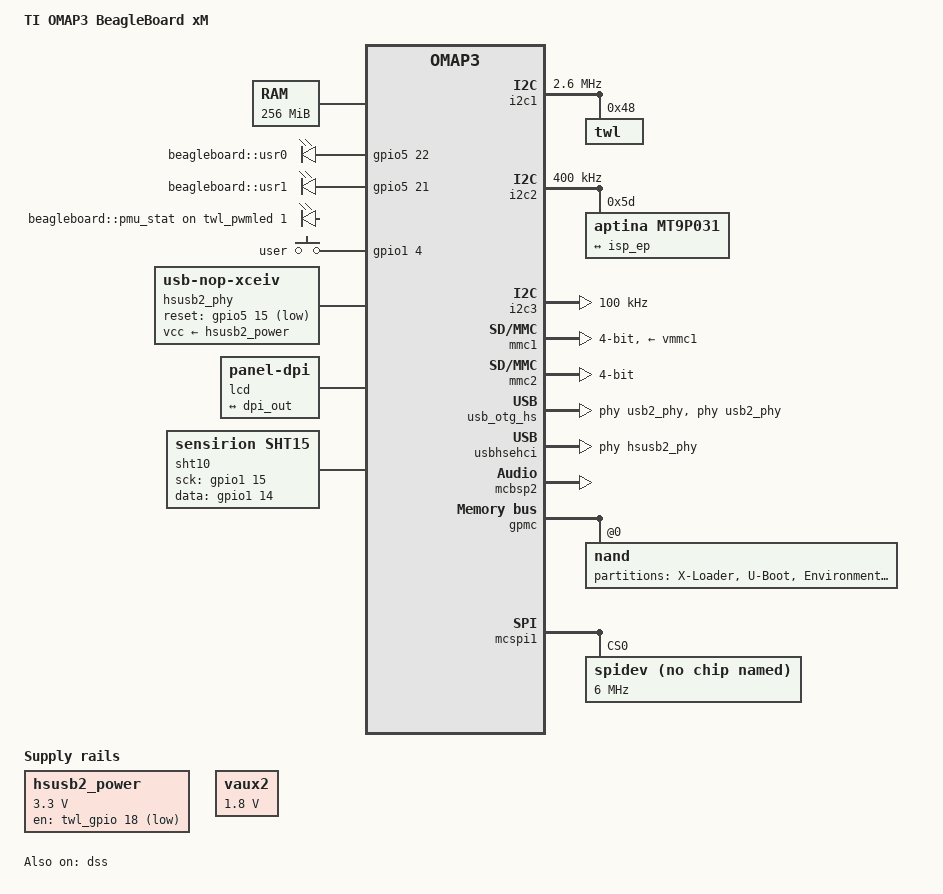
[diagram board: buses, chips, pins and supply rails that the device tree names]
/*
 * Copyright (C) 2011 Texas Instruments Incorporated - http://www.ti.com/
 *
 * This program is free software; you can redistribute it and/or modify
 * it under the terms of the GNU General Public License version 2 as
 * published by the Free Software Foundation.
 */
/dts-v1/;

#include "omap36xx.dtsi"

/ {
	model = "TI OMAP3 BeagleBoard xM";
	compatible = "ti,omap3-beagle-xm", "ti,omap36xx", "ti,omap3";

	cpus {
		cpu@0 {
			operating-points = <
				/* kHz    uV */
				300000  1012500
				600000  1200000
				800000  1325000
				1000000 1375000
			>;
			cpu0-supply = <&vcc>;
		};
	};

	memory {
		device_type = "memory";
		reg = <0x80000000 0x10000000>; /* 256 MB */
	};

	aliases {
		display0 = &lcd0;
	};

	leds {
		compatible = "gpio-leds";

		heartbeat {
			label = "beagleboard::usr0";
			gpios = <&gpio5 22 GPIO_ACTIVE_HIGH>; /* 150 -> D6 LED */
			linux,default-trigger = "heartbeat";
		};

		mmc {
			label = "beagleboard::usr1";
			gpios = <&gpio5 21 GPIO_ACTIVE_HIGH>; /* 149 -> D7 LED */
			linux,default-trigger = "mmc0";
		};
	};

	pwmleds {
		compatible = "pwm-leds";

		pmu_stat {
			label = "beagleboard::pmu_stat";
			pwms = <&twl_pwmled 1 7812500>;
			max-brightness = <127>;
		};
	};

	sound {
		compatible = "ti,omap-twl4030";
		ti,model = "omap3beagle";

		ti,mcbsp = <&mcbsp2>;
	};

	gpio_keys {
		compatible = "gpio-keys";

		user {
			label = "user";
			gpios = <&gpio1 4 GPIO_ACTIVE_HIGH>;
			linux,code = <0x114>;
			gpio-key,wakeup;
		};

	};

	/* HS USB Port 2 Power */
	hsusb2_power: hsusb2_power_reg {
		compatible = "regulator-fixed";
		regulator-name = "hsusb2_vbus";
		regulator-min-microvolt = <3300000>;
		regulator-max-microvolt = <3300000>;
		gpio = <&twl_gpio 18 GPIO_ACTIVE_HIGH>;	/* GPIO LEDA */
		startup-delay-us = <70000>;
	};

	/* HS USB Host PHY on PORT 2 */
	hsusb2_phy: hsusb2_phy {
		compatible = "usb-nop-xceiv";
		reset-gpios = <&gpio5 15 GPIO_ACTIVE_LOW>; /* gpio_143 */
		vcc-supply = <&hsusb2_power>;
	};

	lcd0: display@0 {
		compatible = "panel-dpi";
		label = "lcd";

		port {
			lcd_in: endpoint {
				remote-endpoint = <&dpi_out>;
			};
		};

		panel-timing {
			clock-frequency = <31250000>;
			hactive = <800>;
			vactive = <480>;
			hfront-porch = <40>;
			hback-porch = <86>;
			hsync-len = <1>;
			vback-porch = <30>;
			vfront-porch = <13>;
			vsync-len = <3>;

			hsync-active = <0>;
			vsync-active = <0>;
			de-active = <1>;
			pixelclk-active = <1>;
		};
	};

	etb@5401b000 {
		compatible = "arm,coresight-etb10", "arm,primecell";
		reg = <0x5401b000 0x1000>;

		clocks = <&emu_src_ck>;
		clock-names = "apb_pclk";
		port {
			etb_in: endpoint {
				slave-mode;
				remote-endpoint = <&etm_out>;
			};
		};
	};

	etm@54010000 {
		compatible = "arm,coresight-etm3x", "arm,primecell";
		reg = <0x54010000 0x1000>;

		clocks = <&emu_src_ck>;
		clock-names = "apb_pclk";
		port {
			etm_out: endpoint {
				remote-endpoint = <&etb_in>;
			};
		};
	};

        sht10 {
                compatible = "sensirion,sht15";
                sck-gpios = <&gpio1 15 GPIO_ACTIVE_HIGH>; /* gpio_15 */
                data-gpios = <&gpio1 14 GPIO_ACTIVE_HIGH>; /* gpio_14 */
                supply-mv = <3300>; /* 3.3 V */
                pinctrl-names = "default";
                pinctrl-0 = <
                        &sht10_pins
                >;
        };
};

&omap3_pmx_wkup {
	gpio1_pins: pinmux_gpio1_pins {
		pinctrl-single,pins = <
			0x0e (PIN_INPUT | PIN_OFF_WAKEUPENABLE | MUX_MODE4) /* sys_boot2.gpio_4 */
		>;
	};

	dss_dpi_pins2: pinmux_dss_dpi_pins1 {
		pinctrl-single,pins = <
			0x0a (PIN_OUTPUT | MUX_MODE3)   /* sys_boot0.dss_data18 */
			0x0c (PIN_OUTPUT | MUX_MODE3)   /* sys_boot1.dss_data19 */
			0x10 (PIN_OUTPUT | MUX_MODE3)   /* sys_boot3.dss_data20 */
			0x12 (PIN_OUTPUT | MUX_MODE3)   /* sys_boot4.dss_data21 */
			0x14 (PIN_OUTPUT | MUX_MODE3)   /* sys_boot5.dss_data22 */
			0x16 (PIN_OUTPUT | MUX_MODE3)   /* sys_boot6.dss_data23 */
		>;
	};
};

&omap3_pmx_core {
	pinctrl-names = "default";
	pinctrl-0 = <
			&hsusb2_pins
	>;

	uart3_pins: pinmux_uart3_pins {
		pinctrl-single,pins = <
			0x16e (PIN_INPUT | MUX_MODE0)	/* uart3_rx_irrx.uart3_rx_irrx */
			0x170 (PIN_OUTPUT | MUX_MODE0)	/* uart3_tx_irtx.uart3_tx_irtx OUTPUT | MODE0 */
		>;
	};

	hsusb2_pins: pinmux_hsusb2_pins {
		pinctrl-single,pins = <
			OMAP3_CORE1_IOPAD(0x21d4, PIN_INPUT_PULLDOWN | MUX_MODE3)	/* mcspi1_cs3.hsusb2_data2 */
			OMAP3_CORE1_IOPAD(0x21d6, PIN_INPUT_PULLDOWN | MUX_MODE3)	/* mcspi2_clk.hsusb2_data7 */
			OMAP3_CORE1_IOPAD(0x21d8, PIN_INPUT_PULLDOWN | MUX_MODE3)	/* mcspi2_simo.hsusb2_data4 */
			OMAP3_CORE1_IOPAD(0x21da, PIN_INPUT_PULLDOWN | MUX_MODE3)	/* mcspi2_somi.hsusb2_data5 */
			OMAP3_CORE1_IOPAD(0x21dc, PIN_INPUT_PULLDOWN | MUX_MODE3)	/* mcspi2_cs0.hsusb2_data6 */
			OMAP3_CORE1_IOPAD(0x21de, PIN_INPUT_PULLDOWN | MUX_MODE3)	/* mcspi2_cs1.hsusb2_data3 */
			OMAP3_CORE1_IOPAD(0x2172, PIN_OUTPUT | MUX_MODE4)   /* mcbsp3_fsx.uart2_rx.gpio_143 */
		>;
	};

	dss_dpi_pins1: pinmux_dss_dpi_pins2 {
		pinctrl-single,pins = <
			OMAP3_CORE1_IOPAD(0x20d4, PIN_OUTPUT | MUX_MODE0)   /* dss_pclk.dss_pclk */
			OMAP3_CORE1_IOPAD(0x20d6, PIN_OUTPUT | MUX_MODE0)   /* dss_hsync.dss_hsync */
			OMAP3_CORE1_IOPAD(0x20d8, PIN_OUTPUT | MUX_MODE0)   /* dss_vsync.dss_vsync */
			OMAP3_CORE1_IOPAD(0x20da, PIN_OUTPUT | MUX_MODE0)   /* dss_acbias.dss_acbias */

			OMAP3_CORE1_IOPAD(0x20e8, PIN_OUTPUT | MUX_MODE0)   /* dss_data6.dss_data6 */
			OMAP3_CORE1_IOPAD(0x20ea, PIN_OUTPUT | MUX_MODE0)   /* dss_data7.dss_data7 */
			OMAP3_CORE1_IOPAD(0x20ec, PIN_OUTPUT | MUX_MODE0)   /* dss_data8.dss_data8 */
			OMAP3_CORE1_IOPAD(0x20ee, PIN_OUTPUT | MUX_MODE0)   /* dss_data9.dss_data9 */
			OMAP3_CORE1_IOPAD(0x20f0, PIN_OUTPUT | MUX_MODE0)   /* dss_data10.dss_data10 */
			OMAP3_CORE1_IOPAD(0x20f2, PIN_OUTPUT | MUX_MODE0)   /* dss_data11.dss_data11 */
			OMAP3_CORE1_IOPAD(0x20f4, PIN_OUTPUT | MUX_MODE0)   /* dss_data12.dss_data12 */
			OMAP3_CORE1_IOPAD(0x20f6, PIN_OUTPUT | MUX_MODE0)   /* dss_data13.dss_data13 */
			OMAP3_CORE1_IOPAD(0x20f8, PIN_OUTPUT | MUX_MODE0)   /* dss_data14.dss_data14 */
			OMAP3_CORE1_IOPAD(0x20fa, PIN_OUTPUT | MUX_MODE0)   /* dss_data15.dss_data15 */
			OMAP3_CORE1_IOPAD(0x20fc, PIN_OUTPUT | MUX_MODE0)   /* dss_data16.dss_data16 */
			OMAP3_CORE1_IOPAD(0x20fe, PIN_OUTPUT | MUX_MODE0)   /* dss_data17.dss_data17 */

			OMAP3_CORE1_IOPAD(0x2100, PIN_OUTPUT | MUX_MODE3)   /* dss_data18.dss_data0 */
			OMAP3_CORE1_IOPAD(0x2102, PIN_OUTPUT | MUX_MODE3)   /* dss_data19.dss_data1 */
			OMAP3_CORE1_IOPAD(0x2104, PIN_OUTPUT | MUX_MODE3)   /* dss_data20.dss_data2 */
			OMAP3_CORE1_IOPAD(0x2106, PIN_OUTPUT | MUX_MODE3)   /* dss_data21.dss_data3 */
			OMAP3_CORE1_IOPAD(0x2108, PIN_OUTPUT | MUX_MODE3)   /* dss_data22.dss_data4 */
			OMAP3_CORE1_IOPAD(0x210a, PIN_OUTPUT | MUX_MODE3)   /* dss_data23.dss_data5 */
		>;
	};

	uart1_pins: pinmux_uart1_pins {
		pinctrl-single,pins = <
			0x14c (PIN_OUTPUT | MUX_MODE0)	/* uart1_tx.gpio_148 */
			0x152 (PIN_INPUT | MUX_MODE0)	/* uart1_rx.mcbsp1_clk.mcspi4_clk.gpio_151 */
		>;
	};

	mcspi1_pins: pinmux_mcspi1_pins {
		pinctrl-single,pins = <
			OMAP3_CORE1_IOPAD(0x21c8, PIN_INPUT | MUX_MODE0)   /* mcspi1_clk.sdmmc2_dat4.gpio_171 */
			OMAP3_CORE1_IOPAD(0x21ca, PIN_OUTPUT | MUX_MODE0)   /* mcspi1_simo.sdmmc2_dat5.gpio_172 */
			OMAP3_CORE1_IOPAD(0x21cc, PIN_INPUT | MUX_MODE0)    /* mcspi1_somi.sdmmc2_dat6.gpio_173 */
			OMAP3_CORE1_IOPAD(0x21ce, PIN_OUTPUT | MUX_MODE0)   /* mcspi1_cs0.sdmmc2_dat7.gpio_174 */
		>;
	};

	mmc2_pins_wifi: pinmux_mmc2_pins_wifi {
		pinctrl-single,pins = <
			OMAP3_CORE1_IOPAD(0x2158, PIN_INPUT | MUX_MODE0)   /* sdmmc2_clk.mcspi3_clk.gpio_130 */
			OMAP3_CORE1_IOPAD(0x215a, PIN_INPUT | MUX_MODE0)   /* sdmmc2_cmd.mcspi3_simo.gpio_131 */
			OMAP3_CORE1_IOPAD(0x215c, PIN_INPUT | MUX_MODE0)   /* sdmmc2_dat0.mcspi3_somi.gpio_132 */
			OMAP3_CORE1_IOPAD(0x215e, PIN_INPUT | MUX_MODE0)   /* sdmmc2_dat1.gpio_133 */
			OMAP3_CORE1_IOPAD(0x2160, PIN_INPUT | MUX_MODE0)   /* sdmmc2_dat2.mcspi3_cs1.gpio_134 */
			OMAP3_CORE1_IOPAD(0x2162, PIN_INPUT | MUX_MODE0)   /* sdmmc2_dat3.mcspi3_cs0.gpio_135 */
		>;
	};
};

&omap3_pmx_core2 {
	pinctrl-names = "default";
	pinctrl-0 = <
			&hsusb2_2_pins
	>;

	hsusb2_2_pins: pinmux_hsusb2_2_pins {
		pinctrl-single,pins = <
			OMAP3630_CORE2_IOPAD(0x25f0, PIN_OUTPUT | MUX_MODE3)		/* etk_d10.hsusb2_clk */
			OMAP3630_CORE2_IOPAD(0x25f2, PIN_OUTPUT | MUX_MODE3)		/* etk_d11.hsusb2_stp */
			OMAP3630_CORE2_IOPAD(0x25f4, PIN_INPUT_PULLDOWN | MUX_MODE3)	/* etk_d12.hsusb2_dir */
			OMAP3630_CORE2_IOPAD(0x25f6, PIN_INPUT_PULLDOWN | MUX_MODE3)	/* etk_d13.hsusb2_nxt */
			OMAP3630_CORE2_IOPAD(0x25f8, PIN_INPUT_PULLDOWN | MUX_MODE3)	/* etk_d14.hsusb2_data0 */
			OMAP3630_CORE2_IOPAD(0x25fa, PIN_INPUT_PULLDOWN | MUX_MODE3)	/* etk_d15.hsusb2_data1 */
		>;
	};

	sht10_pins: pinmux_sht10_pins {
		pinctrl-single,pins = <
			OMAP3630_CORE2_IOPAD(0x25de, PIN_OUTPUT | MUX_MODE4)   /* etk_d1.mcspi3_somi.hsusb1_data1.gpio_15 */
			OMAP3630_CORE2_IOPAD(0x25dc, PIN_INPUT | MUX_MODE4)   /* edk_d0.mcspi3_simo.sdmmc3_dat4.hsusb1_data0.gpio_14 */
		>;
	};
};

&i2c1 {
	clock-frequency = <2600000>;

	twl: twl@48 {
		reg = <0x48>;
		interrupts = <7>; /* SYS_NIRQ cascaded to intc */
		interrupt-parent = <&intc>;

		twl_audio: audio {
			compatible = "ti,twl4030-audio";
			codec {
			};
		};

		twl_power: power {
			compatible = "ti,twl4030-power-beagleboard-xm", "ti,twl4030-power-idle-osc-off";
			ti,use_poweroff;
		};
	};
};

#include "twl4030.dtsi"
#include "twl4030_omap3.dtsi"

&i2c2 {
	clock-frequency = <400000>;
	mt9p031: camera@0x5d {
		compatible = "aptina,mt9p031";
		reg = <0x5d>;
		clocks = <&isp 0>;
		port {
			mt9p031_1: endpoint {
                                input-clock-frequency = <7200000>;
                                pixel-clock-frequency = <48000000>;
				remote-endpoint = <&isp_ep>;
			};
		};
	};
};

&i2c3 {
	clock-frequency = <100000>;
};

&mmc1 {
	vmmc-supply = <&vmmc1>;
	vmmc_aux-supply = <&vsim>;
	bus-width = <4>;
};

&mmc2 {
        pinctrl-names = "default";
	pinctrl-0 = <&mmc2_pins_wifi>;
	bus-width = <4>;
};

&mmc3 {
	status = "disabled";
};

&twl_gpio {
	ti,use-leds;
	/* pullups: BIT(1) */
	ti,pullups = <0x000002>;
	/*
	 * pulldowns:
	 * BIT(2), BIT(6), BIT(7), BIT(8), BIT(13)
	 * BIT(15), BIT(16), BIT(17)
	 */
	ti,pulldowns = <0x03a1c4>;
};

&usb_otg_hs {
	interface-type = <0>;
	usb-phy = <&usb2_phy>;
	phys = <&usb2_phy>;
	phy-names = "usb2-phy";
	mode = <3>;
	power = <50>;
};

&uart3 {
	interrupts-extended = <&intc 74 &omap3_pmx_core OMAP3_UART3_RX>;
	pinctrl-names = "default";
	pinctrl-0 = <&uart3_pins>;
};

&gpio1 {
	pinctrl-names = "default";
	pinctrl-0 = <&gpio1_pins>;
};

&usbhshost {
	port2-mode = "ehci-phy";
};

&usbhsehci {
	phys = <0 &hsusb2_phy>;
};

&vaux2 {
	regulator-name = "usb_1v8";
	regulator-min-microvolt = <1800000>;
	regulator-max-microvolt = <1800000>;
	regulator-always-on;
};

&mcbsp2 {
	status = "okay";
};

&dss {
	status = "ok";

	pinctrl-names = "default";
	pinctrl-0 = <
		&dss_dpi_pins1
		&dss_dpi_pins2
	>;

	port {
		dpi_out: endpoint {
			remote-endpoint = <&lcd_in>;
			data-lines = <24>;
		};
	};
};

&uart2 {
        status = "disabled";
};

&gpmc {
	ranges = <0 0 0x00000000 0x20000000>;	/* CS0: 512MB for NAND */

	nand@0,0 {
		linux,mtd-name= "hynix,h8kds0un0mer-4em";
		reg = <0 0 0>;	/* CS0, offset 0, IO size 4 */
		nand-bus-width = <16>;
		gpmc,device-width = <2>;
		ti,nand-ecc-opt = "bch8";

		gpmc,sync-clk-ps = <0>;
		gpmc,cs-on-ns = <0>;
		gpmc,cs-rd-off-ns = <44>;
		gpmc,cs-wr-off-ns = <44>;
		gpmc,adv-on-ns = <6>;
		gpmc,adv-rd-off-ns = <34>;
		gpmc,adv-wr-off-ns = <44>;
		gpmc,we-off-ns = <40>;
		gpmc,oe-off-ns = <54>;
		gpmc,access-ns = <64>;
		gpmc,rd-cycle-ns = <82>;
		gpmc,wr-cycle-ns = <82>;
		gpmc,wr-access-ns = <40>;
		gpmc,wr-data-mux-bus-ns = <0>;

		#address-cells = <1>;
		#size-cells = <1>;

		partition@0 {
			label = "X-Loader";
			reg = <0 0x80000>;
		};
		partition@0x80000 {
			label = "U-Boot";
			reg = <0x80000 0x1c0000>;
		};
		partition@0x240000 {
			label = "Environment";
			reg = <0x240000 0x40000>;
		};
		partition@0x280000 {
			label = "Kernel";
			reg = <0x280000 0x500000>;
		};
		partition@0x780000 {
			label = "initramfs";
			reg = <0x780000 0x600000>;
		};
		partition@0xd80000 {
			label = "DeviceTree";
			reg = <0xd80000 0x80000>;
		};
		partition@0xe00000 {
			label = "wrtrootfs";
			reg = <0xe00000 0x4000000>;
		};
		partition@0x4e00000 {
			label = "Filesystem";
			reg = <0x4e00000 0x1b200000>;
		};
	};
};

&isp {
	ports {
		port@0 {
			reg = <0>;
			isp_ep: endpoint {
				remote-endpoint = <&mt9p031_1>;
                                bus-width = <12>;
                                hsync-active = <1>;
                                vsync-active = <1>;
                                pclk-sample = <0>;
			};
		};
	};
};

&uart1 {
	pinctrl-names = "default";
	pinctrl-0 = <&uart1_pins>;
};

&mcspi1 {
	pinctrl-names = "default";
	pinctrl-0 = <
		&mcspi1_pins
	>;
        spidev@0 {
                compatible = "rohm,dh2228fv";
                spi-max-frequency = <6000000>;
                reg = <0>;
        };
};
